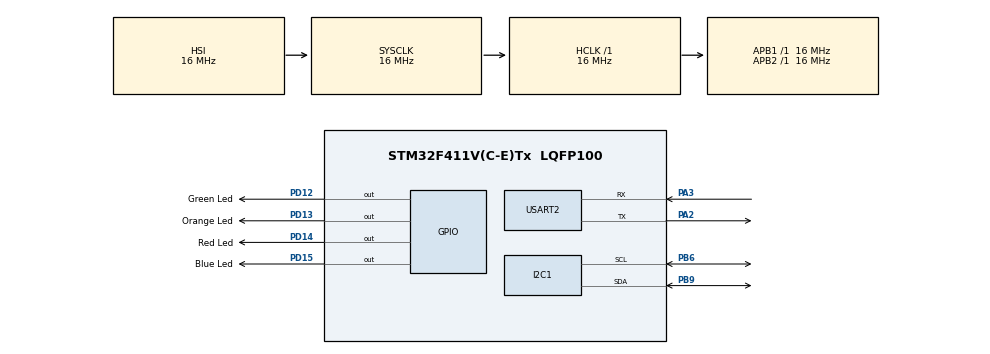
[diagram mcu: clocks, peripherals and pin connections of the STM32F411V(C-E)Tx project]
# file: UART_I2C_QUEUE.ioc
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Dma.I2C1_RX.0.Direction=DMA_PERIPH_TO_MEMORY
Dma.I2C1_RX.0.FIFOMode=DMA_FIFOMODE_DISABLE
Dma.I2C1_RX.0.Instance=DMA1_Stream0
Dma.I2C1_RX.0.MemDataAlignment=DMA_MDATAALIGN_BYTE
Dma.I2C1_RX.0.MemInc=DMA_MINC_ENABLE
Dma.I2C1_RX.0.Mode=DMA_NORMAL
Dma.I2C1_RX.0.PeriphDataAlignment=DMA_PDATAALIGN_BYTE
Dma.I2C1_RX.0.PeriphInc=DMA_PINC_DISABLE
Dma.I2C1_RX.0.Priority=DMA_PRIORITY_LOW
Dma.I2C1_TX.1.Direction=DMA_MEMORY_TO_PERIPH
Dma.I2C1_TX.1.FIFOMode=DMA_FIFOMODE_DISABLE
Dma.I2C1_TX.1.Instance=DMA1_Stream1
Dma.I2C1_TX.1.MemDataAlignment=DMA_MDATAALIGN_BYTE
Dma.I2C1_TX.1.MemInc=DMA_MINC_ENABLE
Dma.I2C1_TX.1.Mode=DMA_NORMAL
Dma.I2C1_TX.1.PeriphDataAlignment=DMA_PDATAALIGN_BYTE
Dma.I2C1_TX.1.PeriphInc=DMA_PINC_DISABLE
Dma.I2C1_TX.1.Priority=DMA_PRIORITY_LOW
Dma.Request0=I2C1_RX
Dma.Request1=I2C1_TX
Dma.Request2=USART2_RX
Dma.Request3=USART2_TX
Dma.USART2_RX.2.Direction=DMA_PERIPH_TO_MEMORY
Dma.USART2_RX.2.FIFOMode=DMA_FIFOMODE_DISABLE
Dma.USART2_RX.2.Instance=DMA1_Stream5
Dma.USART2_RX.2.MemDataAlignment=DMA_MDATAALIGN_BYTE
Dma.USART2_RX.2.MemInc=DMA_MINC_ENABLE
Dma.USART2_RX.2.Mode=DMA_NORMAL
Dma.USART2_RX.2.PeriphDataAlignment=DMA_PDATAALIGN_BYTE
Dma.USART2_RX.2.PeriphInc=DMA_PINC_DISABLE
Dma.USART2_RX.2.Priority=DMA_PRIORITY_LOW
Dma.USART2_TX.3.Direction=DMA_MEMORY_TO_PERIPH
Dma.USART2_TX.3.FIFOMode=DMA_FIFOMODE_DISABLE
Dma.USART2_TX.3.Instance=DMA1_Stream6
Dma.USART2_TX.3.MemDataAlignment=DMA_MDATAALIGN_BYTE
Dma.USART2_TX.3.MemInc=DMA_MINC_ENABLE
Dma.USART2_TX.3.Mode=DMA_NORMAL
Dma.USART2_TX.3.PeriphDataAlignment=DMA_PDATAALIGN_BYTE
Dma.USART2_TX.3.PeriphInc=DMA_PINC_DISABLE
Dma.USART2_TX.3.Priority=DMA_PRIORITY_LOW
FREERTOS.Tasks01=defaultTask,0,128,StartDefaultTask,Default,NULL
Mcu.Family=STM32F4
Mcu.Name=STM32F411V(C-E)Tx
Mcu.Package=LQFP100
NVIC.DMA1_Stream0_IRQn=true\:5\:0\:false\:false\:true\:true\:false
NVIC.DMA1_Stream1_IRQn=true\:5\:0\:false\:false\:true\:true\:false
NVIC.DMA1_Stream5_IRQn=true\:5\:0\:false\:false\:true\:true\:false
NVIC.DMA1_Stream6_IRQn=true\:5\:0\:false\:false\:true\:true\:false
NVIC.I2C1_ER_IRQn=true\:5\:0\:false\:false\:true\:true\:true
NVIC.I2C1_EV_IRQn=true\:5\:0\:false\:false\:true\:true\:true
NVIC.PriorityGroup=NVIC_PRIORITYGROUP_4
NVIC.TIM1_UP_TIM10_IRQn=true\:0\:0\:false\:false\:true\:false\:false
NVIC.TimeBase=TIM1_UP_TIM10_IRQn
NVIC.TimeBaseIP=TIM1
NVIC.USART2_IRQn=true\:5\:0\:false\:false\:true\:true\:true
PA2.Mode=Asynchronous
PA2.Signal=USART2_TX
PA3.Mode=Asynchronous
PA3.Signal=USART2_RX
PB6.Mode=I2C
PB6.Signal=I2C1_SCL
PB9.Mode=I2C
PB9.Signal=I2C1_SDA
PD12.GPIO_Label=Green Led
PD12.GPIO_Speed=GPIO_SPEED_FREQ_VERY_HIGH
PD12.Signal=GPIO_Output
PD13.GPIO_Label=Orange Led
PD13.GPIO_Speed=GPIO_SPEED_FREQ_VERY_HIGH
PD13.Signal=GPIO_Output
PD14.GPIO_Label=Red Led
PD14.GPIO_Speed=GPIO_SPEED_FREQ_VERY_HIGH
PD14.Signal=GPIO_Output
PD15.GPIO_Label=Blue Led
PD15.GPIO_Speed=GPIO_SPEED_FREQ_VERY_HIGH
PD15.Signal=GPIO_Output
ProjectManager.HeapSize=0x200
ProjectManager.StackSize=0x400
ProjectManager.TargetToolchain=MDK-ARM V5
RCC.AHBFreq_Value=16000000
RCC.APB1Freq_Value=16000000
RCC.APB2Freq_Value=16000000
RCC.CortexFreq_Value=16000000
RCC.HSE_VALUE=25000000
RCC.HSI_VALUE=16000000
RCC.LSE_VALUE=32768
RCC.SYSCLKFreq_VALUE=16000000
RCC.VCOOutputFreq_Value=192000000
USART2.VirtualMode=VM_ASYNC
VP_FREERTOS_VS_ENABLE.Mode=Enabled
VP_SYS_VS_tim1.Mode=TIM1
board=custom

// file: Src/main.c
/**
  ******************************************************************************
  * @file           : main.c
  * @brief          : Main program body
  ******************************************************************************
  * This notice applies to any and all portions of this file
  * that are not between comment pairs USER CODE BEGIN and
  * USER CODE END. Other portions of this file, whether
  * inserted by the user or by software development tools
  * are owned by their respective copyright owners.
  *
  * Copyright (c) 2018 STMicroelectronics International N.V.
  * All rights reserved.
  *
  * Redistribution and use in source and binary forms, with or without
  * modification, are permitted, provided that the following conditions are met:
  *
  * 1. Redistribution of source code must retain the above copyright notice,
  *    this list of conditions and the following disclaimer.
  * 2. Redistributions in binary form must reproduce the above copyright notice,
  *    this list of conditions and the following disclaimer in the documentation
  *    and/or other materials provided with the distribution.
  * 3. Neither the name of STMicroelectronics nor the names of other
  *    contributors to this software may be used to endorse or promote products
  *    derived from this software without specific written permission.
  * 4. This software, including modifications and/or derivative works of this
  *    software, must execute solely and exclusively on microcontroller or
  *    microprocessor devices manufactured by or for STMicroelectronics.
  * 5. Redistribution and use of this software other than as permitted under
  *    this license is void and will automatically terminate your rights under
  *    this license.
  *
  * THIS SOFTWARE IS PROVIDED BY STMICROELECTRONICS AND CONTRIBUTORS "AS IS"
  * AND ANY EXPRESS, IMPLIED OR STATUTORY WARRANTIES, INCLUDING, BUT NOT
  * LIMITED TO, THE IMPLIED WARRANTIES OF MERCHANTABILITY, FITNESS FOR A
  * PARTICULAR PURPOSE AND NON-INFRINGEMENT OF THIRD PARTY INTELLECTUAL PROPERTY
  * RIGHTS ARE DISCLAIMED TO THE FULLEST EXTENT PERMITTED BY LAW. IN NO EVENT
  * SHALL STMICROELECTRONICS OR CONTRIBUTORS BE LIABLE FOR ANY DIRECT, INDIRECT,
  * INCIDENTAL, SPECIAL, EXEMPLARY, OR CONSEQUENTIAL DAMAGES (INCLUDING, BUT NOT
  * LIMITED TO, PROCUREMENT OF SUBSTITUTE GOODS OR SERVICES; LOSS OF USE, DATA,
  * OR PROFITS; OR BUSINESS INTERRUPTION) HOWEVER CAUSED AND ON ANY THEORY OF
  * LIABILITY, WHETHER IN CONTRACT, STRICT LIABILITY, OR TORT (INCLUDING
  * NEGLIGENCE OR OTHERWISE) ARISING IN ANY WAY OUT OF THE USE OF THIS SOFTWARE,
  * EVEN IF ADVISED OF THE POSSIBILITY OF SUCH DAMAGE.
  *
  ******************************************************************************
  */
#include "main.h"
#include "stm32f4xx_hal.h"
#include "cmsis_os.h"

/* USER CODE BEGIN Includes */
#include <string.h>
#include <stdbool.h>
/* USER CODE END Includes */

I2C_HandleTypeDef hi2c1;
DMA_HandleTypeDef hdma_i2c1_rx;
DMA_HandleTypeDef hdma_i2c1_tx;

UART_HandleTypeDef huart2;
DMA_HandleTypeDef hdma_usart2_rx;
DMA_HandleTypeDef hdma_usart2_tx;

osThreadId defaultTaskHandle;

/* USER CODE BEGIN PV */
/* Private variables ---------------------------------------------------------*/
#define TX_BIT	0x01
#define RX_BIT	0x02
#define BUFFERSIZE	16
uint32_t ulNotifiedValue;
uint8_t i,RxData[2],RxIndx,TxCplt;
uint8_t buffer[BUFFERSIZE];
uint8_t Qbuffer[BUFFERSIZE];
uint8_t Txbuffer[BUFFERSIZE];
uint8_t Rxbuffer[BUFFERSIZE];
bool flag = true;

QueueHandle_t xQueue;
TaskHandle_t xHandleUART, xHandleI2C;
/* USER CODE END PV */

void SystemClock_Config(void);
static void MX_GPIO_Init(void);
static void MX_DMA_Init(void);
static void MX_I2C1_Init(void);
static void MX_USART2_UART_Init(void);
void StartDefaultTask(void const * argument);

/* USER CODE BEGIN PFP */
/* Private function prototypes -----------------------------------------------*/
static void my_atoi(uint8_t *buff);
void uart(void *argument);
void i2c(void *argument);
/* USER CODE END PFP */

int main(void)
{

  /* MCU Configuration----------------------------------------------------------*/

  /* Reset of all peripherals, Initializes the Flash interface and the Systick. */
  HAL_Init();

  /* Configure the system clock */
  SystemClock_Config();

  /* Initialize all configured peripherals */
  MX_GPIO_Init();
  MX_DMA_Init();
  MX_I2C1_Init();
  MX_USART2_UART_Init();
  /* USER CODE BEGIN 2 */
	if(HAL_UART_Transmit(&huart2, (uint8_t *)"\r\n************************* STM32F4-DISCOVERY I2C Communication over UART *************************\r\n", strlen("\r\n************************* STM32F4-DISCOVERY I2C Communication over UART *************************\r\n"), 1000) != HAL_OK)
	{
		Error_Handler();
	}
	if(HAL_UART_Transmit(&huart2, (uint8_t *)"\r\n\r\n1.Send an I2C device(CS43L22) address(0x32)\r\n2.Send register address(0x01-0x34) of an I2C device(CS43L22) to which data has to be written\r\n3.Send a 8-bit data to be written\r\n", strlen("\r\n\r\n1.Send an I2C device(CS43L22) address(0x32)\r\n2.Send register address(0x01-0x34) of an I2C device(CS43L22) to which data has to be written\r\n3.Send a 8-bit data to be written\r\n"), 1000) != HAL_OK)
	{
		Error_Handler();
	}
	if(HAL_UART_Transmit(&huart2, (uint8_t *)"\r\n\r\ne.g 322465 \r\n\r\n",strlen("\r\n\r\ne.g 322465\r\n\r\n"), 1000) != HAL_OK)
	{
		Error_Handler();
	}
  /* USER CODE END 2 */

  /* Create the thread(s) */
  /* definition and creation of defaultTask */
  osThreadDef(defaultTask, StartDefaultTask, osPriorityNormal, 0, 128);
  defaultTaskHandle = osThreadCreate(osThread(defaultTask), NULL);

  /* USER CODE BEGIN RTOS_THREADS */
  /* add threads, ... */
	if(xTaskCreate(uart, "UART", configMINIMAL_STACK_SIZE, NULL, osPriorityNormal-osPriorityIdle, &xHandleUART) != pdPASS)
	{
		Error_Handler();
	}
	if(xTaskCreate(i2c, "I2C", configMINIMAL_STACK_SIZE, NULL, osPriorityNormal-osPriorityIdle, &xHandleI2C) != pdPASS)
	{
		Error_Handler();
	}
  /* USER CODE END RTOS_THREADS */

  /* USER CODE BEGIN RTOS_QUEUES */
  /* add queues, ... */
	xQueue = xQueueCreate(1,sizeof(uint64_t));
  /* USER CODE END RTOS_QUEUES */

  /* Start scheduler */
  osKernelStart();

  /* We should never get here as control is now taken by the scheduler */

  /* Infinite loop */
  while (1)
  {

  }

}

void SystemClock_Config(void)
{

  RCC_OscInitTypeDef RCC_OscInitStruct;
  RCC_ClkInitTypeDef RCC_ClkInitStruct;

    /**Configure the main internal regulator output voltage
    */
  __HAL_RCC_PWR_CLK_ENABLE();

  __HAL_PWR_VOLTAGESCALING_CONFIG(PWR_REGULATOR_VOLTAGE_SCALE1);

    /**Initializes the CPU, AHB and APB busses clocks
    */
  RCC_OscInitStruct.OscillatorType = RCC_OSCILLATORTYPE_HSI;
  RCC_OscInitStruct.HSIState = RCC_HSI_ON;
  RCC_OscInitStruct.HSICalibrationValue = 16;
  RCC_OscInitStruct.PLL.PLLState = RCC_PLL_NONE;
  if (HAL_RCC_OscConfig(&RCC_OscInitStruct) != HAL_OK)
  {
    _Error_Handler(__FILE__, __LINE__);
  }

    /**Initializes the CPU, AHB and APB busses clocks
    */
  RCC_ClkInitStruct.ClockType = RCC_CLOCKTYPE_HCLK|RCC_CLOCKTYPE_SYSCLK
                              |RCC_CLOCKTYPE_PCLK1|RCC_CLOCKTYPE_PCLK2;
  RCC_ClkInitStruct.SYSCLKSource = RCC_SYSCLKSOURCE_HSI;
  RCC_ClkInitStruct.AHBCLKDivider = RCC_SYSCLK_DIV1;
  RCC_ClkInitStruct.APB1CLKDivider = RCC_HCLK_DIV1;
  RCC_ClkInitStruct.APB2CLKDivider = RCC_HCLK_DIV1;

  if (HAL_RCC_ClockConfig(&RCC_ClkInitStruct, FLASH_LATENCY_0) != HAL_OK)
  {
    _Error_Handler(__FILE__, __LINE__);
  }

    /**Configure the Systick interrupt time
    */
  HAL_SYSTICK_Config(HAL_RCC_GetHCLKFreq()/1000);

    /**Configure the Systick
    */
  HAL_SYSTICK_CLKSourceConfig(SYSTICK_CLKSOURCE_HCLK);

  /* SysTick_IRQn interrupt configuration */
  HAL_NVIC_SetPriority(SysTick_IRQn, 15, 0);
}

/* I2C1 init function */
static void MX_I2C1_Init(void)
{

  hi2c1.Instance = I2C1;
  hi2c1.Init.ClockSpeed = 100000;
  hi2c1.Init.DutyCycle = I2C_DUTYCYCLE_2;
  hi2c1.Init.OwnAddress1 = 0;
  hi2c1.Init.AddressingMode = I2C_ADDRESSINGMODE_7BIT;
  hi2c1.Init.DualAddressMode = I2C_DUALADDRESS_DISABLE;
  hi2c1.Init.OwnAddress2 = 0;
  hi2c1.Init.GeneralCallMode = I2C_GENERALCALL_DISABLE;
  hi2c1.Init.NoStretchMode = I2C_NOSTRETCH_DISABLE;
  if (HAL_I2C_Init(&hi2c1) != HAL_OK)
  {
    _Error_Handler(__FILE__, __LINE__);
  }

}

/* USART2 init function */
static void MX_USART2_UART_Init(void)
{

  huart2.Instance = USART2;
  huart2.Init.BaudRate = 115200;
  huart2.Init.WordLength = UART_WORDLENGTH_8B;
  huart2.Init.StopBits = UART_STOPBITS_1;
  huart2.Init.Parity = UART_PARITY_NONE;
  huart2.Init.Mode = UART_MODE_TX_RX;
  huart2.Init.HwFlowCtl = UART_HWCONTROL_NONE;
  huart2.Init.OverSampling = UART_OVERSAMPLING_16;
  if (HAL_UART_Init(&huart2) != HAL_OK)
  {
    _Error_Handler(__FILE__, __LINE__);
  }

}

static void MX_DMA_Init(void)
{
  /* DMA controller clock enable */
  __HAL_RCC_DMA1_CLK_ENABLE();

  /* DMA interrupt init */
  /* DMA1_Stream0_IRQn interrupt configuration */
  HAL_NVIC_SetPriority(DMA1_Stream0_IRQn, 5, 0);
  HAL_NVIC_EnableIRQ(DMA1_Stream0_IRQn);
  /* DMA1_Stream1_IRQn interrupt configuration */
  HAL_NVIC_SetPriority(DMA1_Stream1_IRQn, 5, 0);
  HAL_NVIC_EnableIRQ(DMA1_Stream1_IRQn);
  /* DMA1_Stream5_IRQn interrupt configuration */
  HAL_NVIC_SetPriority(DMA1_Stream5_IRQn, 5, 0);
  HAL_NVIC_EnableIRQ(DMA1_Stream5_IRQn);
  /* DMA1_Stream6_IRQn interrupt configuration */
  HAL_NVIC_SetPriority(DMA1_Stream6_IRQn, 5, 0);
  HAL_NVIC_EnableIRQ(DMA1_Stream6_IRQn);

}

/** Configure pins as
        * Analog
        * Input
        * Output
        * EVENT_OUT
        * EXTI
*/
static void MX_GPIO_Init(void)
{

  GPIO_InitTypeDef GPIO_InitStruct;

  /* GPIO Ports Clock Enable */
  __HAL_RCC_GPIOA_CLK_ENABLE();
  __HAL_RCC_GPIOD_CLK_ENABLE();
  __HAL_RCC_GPIOB_CLK_ENABLE();

  /*Configure GPIO pin Output Level */
  HAL_GPIO_WritePin(GPIOD, Green_Led_Pin|Orange_Led_Pin|Red_Led_Pin|Blue_Led_Pin, GPIO_PIN_RESET);

  /*Configure GPIO pins : Green_Led_Pin Orange_Led_Pin Red_Led_Pin Blue_Led_Pin */
  GPIO_InitStruct.Pin = Green_Led_Pin|Orange_Led_Pin|Red_Led_Pin|Blue_Led_Pin;
  GPIO_InitStruct.Mode = GPIO_MODE_OUTPUT_PP;
  GPIO_InitStruct.Pull = GPIO_NOPULL;
  GPIO_InitStruct.Speed = GPIO_SPEED_FREQ_VERY_HIGH;
  HAL_GPIO_Init(GPIOD, &GPIO_InitStruct);

}

/* USER CODE BEGIN 4 */
void uart(void *argument)
{
	BaseType_t xResult;

	if(HAL_UART_Receive_DMA(&huart2, RxData, 1) != HAL_OK)
	{
		Error_Handler();
	}
	while(1)
	{
		xResult = xTaskNotifyWait(pdFALSE, 0x03, &ulNotifiedValue, portMAX_DELAY);
		if(xResult == pdPASS)
		{
			if((ulNotifiedValue & TX_BIT) != 0)
			{
				if(xQueueReceive(xQueue, Qbuffer, portMAX_DELAY ) == pdPASS )
				{
					if(HAL_UART_Transmit_DMA(&huart2, Qbuffer, strlen((const char *)Qbuffer)) != HAL_OK)
					{
						Error_Handler();
					}
					flag=1;
				}
			}
			if((ulNotifiedValue & RX_BIT) != 0)
			{
				//osDelay(1000);
				if(xQueueSendToBack(xQueue, Rxbuffer, portMAX_DELAY) != pdPASS)
				{
					Error_Handler();
				}
			}
		}
	}
}
void i2c(void *argument)
{
	while(1)
	{
		if(flag)
		{
		//osDelay(1000);
			if(xQueueReceive( xQueue, Qbuffer, portMAX_DELAY ) == pdPASS )
			{
				my_atoi(Qbuffer);
				if(buffer[0] != 0x32) //chip address
				{
					Error_Handler();
				}
				if(HAL_I2C_Master_Transmit_DMA(&hi2c1, buffer[0], buffer+1, 2) != HAL_OK)
				{
					Error_Handler();
				}
				while(HAL_I2C_GetState(&hi2c1) != HAL_I2C_STATE_READY)
				{
					vTaskDelay(1);
				}
				if(HAL_I2C_Master_Transmit_DMA(&hi2c1, buffer[0], buffer+1, 1) != HAL_OK)
				{
					Error_Handler();
				}
				while(HAL_I2C_GetState(&hi2c1) != HAL_I2C_STATE_READY)
				{
					vTaskDelay(1);
				}
				if(HAL_I2C_Master_Receive_DMA(&hi2c1, buffer[0], Txbuffer, 1) != HAL_OK)
				{
					Error_Handler();
				}
				while(HAL_I2C_GetState(&hi2c1) != HAL_I2C_STATE_READY)
				{
					vTaskDelay(1);
				}
				memset(buffer, 0 , BUFFERSIZE);
				memset(Qbuffer, 0 , BUFFERSIZE);
				ulNotifiedValue = TX_BIT;
				if(xTaskNotify(xHandleUART, ulNotifiedValue, eSetBits) == pdPASS )
				{
					flag = false;
					if(xQueueSendToBack(xQueue, Txbuffer, portMAX_DELAY) != pdPASS)
					{
						Error_Handler();
					}
				}
				else
				{
					Error_Handler();
				}
			}
		}
	}
}
static void my_atoi(uint8_t *buff)
{
	uint8_t i,j=0;

	for(i=0;i<(strlen((const char *)buff)/2);i++)
	{
		buffer[i] = (buff[j] - '0')*16 + (buff[j+1] - '0');
		j=j+2;
	}
	if((strlen((const char *)buff)%2) != 0)
	{
		buffer[i] = (buff[j] - '0');
	}

	return;
}
void HAL_I2C_MasterRxCpltCallback(I2C_HandleTypeDef *hi2c)
{
	if(hi2c->Instance == I2C1)
	{
		HAL_GPIO_TogglePin(GPIOD, Blue_Led_Pin);
	}
	return;
}
void HAL_I2C_MasterTxCpltCallback(I2C_HandleTypeDef *hi2c)
{
	if(hi2c->Instance == I2C1)
	{
		HAL_GPIO_TogglePin(GPIOD, Blue_Led_Pin);
	}
	return;
}
void HAL_UART_TxCpltCallback(UART_HandleTypeDef *huart)
{
	if(huart->Instance == USART2)
	{
		HAL_GPIO_TogglePin(GPIOD, Orange_Led_Pin);
	}
	return;
}

void HAL_UART_RxCpltCallback(UART_HandleTypeDef *huart)
{
	if(huart->Instance == USART2)
	{
		HAL_GPIO_TogglePin(GPIOD, Blue_Led_Pin);
		BaseType_t xHigherPriorityTaskWoken = pdFALSE;
		if(RxIndx == 0)
		{
			memset(Rxbuffer, 0, BUFFERSIZE);
		}
		if(RxData[0] != 13)
		{
			Rxbuffer[RxIndx++] = RxData[0];
		}
		else
		{
			RxIndx = 0;
			ulNotifiedValue = RX_BIT;
			xTaskNotifyFromISR(xHandleUART, ulNotifiedValue, eSetBits, &xHigherPriorityTaskWoken);
			portYIELD_FROM_ISR(xHigherPriorityTaskWoken);
			//TxCplt = 1;
		}
		if(HAL_UART_Receive_DMA(&huart2, RxData, 1) != HAL_OK)
		{
			Error_Handler();
		}
	}
	return;
}
/* USER CODE END 4 */

/* StartDefaultTask function */
void StartDefaultTask(void const * argument)
{

  /* USER CODE BEGIN 5 */
  /* Infinite loop */
  for(;;)
  {
		HAL_GPIO_TogglePin(GPIOD, Green_Led_Pin);
    osDelay(1000);
  }
  /* USER CODE END 5 */
}

void HAL_TIM_PeriodElapsedCallback(TIM_HandleTypeDef *htim)
{
  if (htim->Instance == TIM1) {
    HAL_IncTick();
  }
}

void _Error_Handler(char *file, int line)
{
  /* USER CODE BEGIN Error_Handler_Debug */
  /* User can add his own implementation to report the HAL error return state */
	HAL_GPIO_WritePin(GPIOD, Red_Led_Pin, GPIO_PIN_SET);
  while(1)
  {
  }
  /* USER CODE END Error_Handler_Debug */
}

/************************ (C) COPYRIGHT STMicroelectronics *****END OF FILE****/
